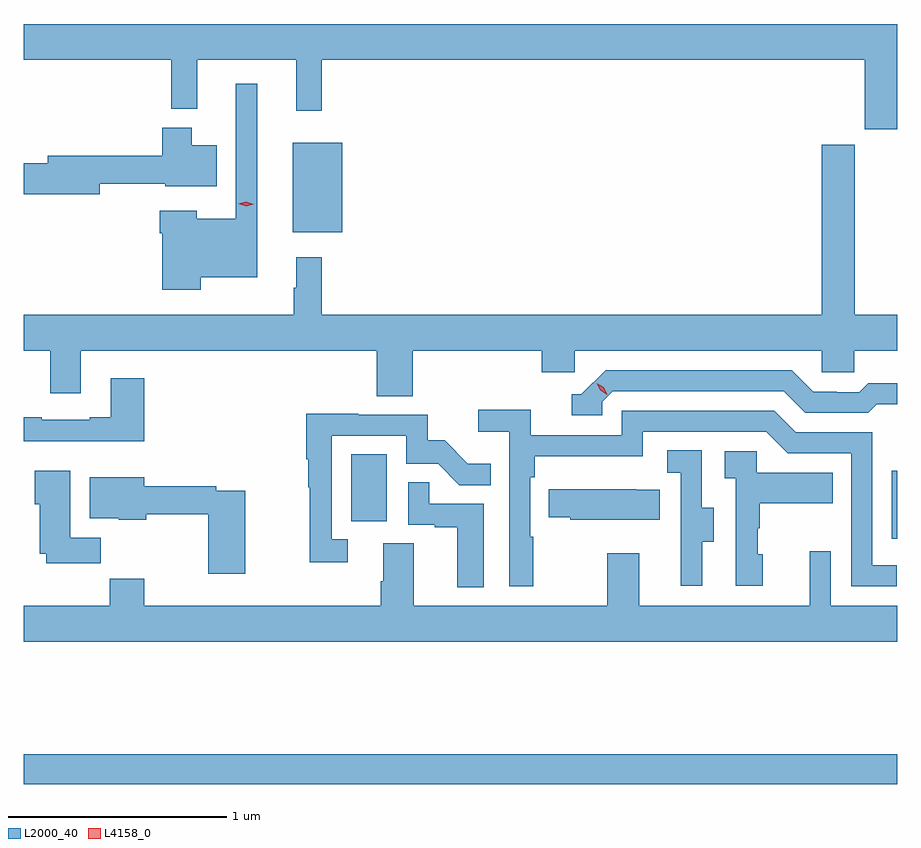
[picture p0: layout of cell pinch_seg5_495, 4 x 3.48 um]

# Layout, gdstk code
import gdstk
lib = gdstk.Library(unit=1e-6, precision=1e-09)
def R(c, l, rs):  # rectangles x0, y0, x1, y1
    for r in rs: c.add(gdstk.rectangle(r[:2], r[2:], *l))
def P(c, l, *ps):  # polygons
    for p in ps: c.add(gdstk.Polygon(p, *l))
L2000_40 = (2000, 40)
L4158_0 = (4158, 0)

pinch_seg5_495 = lib.new_cell('pinch_seg5_495')
R(pinch_seg5_495, L2000_40, [(903.525,848.116,907.525,848.252), (907.5,849.24,907.525,849.55), (905.024,849.318,905.188,849.625), (904.757,850.643,904.984,851.053)])
P(pinch_seg5_495, L2000_40, [(907.525,851.596),(903.525,851.596),(903.525,851.432),(904.201,851.432),(904.201,851.207),(904.319,851.207),(904.319,851.432),(904.772,851.432),(904.772,851.199),(904.889,851.199),(904.889,851.432),(907.376,851.432),(907.376,851.115),(907.525,851.115)],
  [(904.335,850.436),(904.594,850.436),(904.594,851.323),(904.497,851.323),(904.497,850.705),(904.318,850.705),(904.318,850.741),(904.148,850.741),(904.148,850.637),(904.16,850.637),(904.16,850.379),(904.335,850.379)],
  [(903.874,850.864),(904.172,850.864),(904.172,850.853),(904.408,850.853),(904.408,851.041),(904.294,851.041),(904.294,851.122),(904.16,851.122),(904.16,850.993),(903.635,850.993),(903.635,850.959),(903.525,850.959),(903.525,850.817),(903.874,850.817)],
  [(905.306,850.1),(905.897,850.1),(905.897,850.002),(906.048,850.002),(906.048,850.1),(907.179,850.1),(907.179,850.002),(907.329,850.002),(907.329,850.1),(907.525,850.1),(907.525,850.264),(907.33,850.264),(907.33,851.043),(907.178,851.043),(907.178,850.264),(904.889,850.264),(904.889,850.528),(904.772,850.528),(904.772,850.388),(904.761,850.388),(904.761,850.264),(903.525,850.264),(903.525,850.1),(903.647,850.1),(903.647,849.906),(903.787,849.906),(903.787,850.1),(905.141,850.1),(905.141,849.892),(905.306,849.892)],
  [(906.174,849.867),(906.222,849.915),(907.005,849.915),(907.104,849.816),(907.393,849.816),(907.432,849.855),(907.525,849.855),(907.525,849.952),(907.393,849.952),(907.351,849.909),(907.248,849.909),(907.248,849.912),(907.141,849.912),(907.042,850.011),(906.189,850.011),(906.078,849.9),(906.035,849.9),(906.035,849.804),(906.174,849.804)],
  [(904.076,849.973),(903.923,849.973),(903.923,849.796),(903.827,849.796),(903.827,849.783),(903.607,849.783),(903.607,849.796),(903.525,849.796),(903.525,849.686),(904.076,849.686)],
  [(905.857,849.248),(905.844,849.248),(905.844,849.521),(905.864,849.521),(905.864,849.617),(906.36,849.617),(906.36,849.729),(906.924,849.729),(907.023,849.63),(907.314,849.63),(907.314,849.021),(907.523,849.021),(907.523,849.117),(907.41,849.117),(907.41,849.726),(907.06,849.726),(906.961,849.825),(906.264,849.825),(906.264,849.714),(905.846,849.714),(905.846,849.83),(905.607,849.83),(905.607,849.728),(905.748,849.728),(905.748,849.021),(905.857,849.021)],
  [(905.008,849.237),(904.935,849.237),(904.935,849.711),(905.277,849.711),(905.277,849.582),(905.422,849.582),(905.52,849.484),(905.663,849.484),(905.663,849.583),(905.559,849.583),(905.452,849.69),(905.376,849.69),(905.376,849.807),(905.057,849.807),(905.057,849.812),(904.819,849.812),(904.819,849.604),(904.827,849.604),(904.827,849.474),(904.834,849.474),(904.834,849.132),(905.008,849.132)],
  [(906.631,849.226),(906.685,849.226),(906.685,849.381),(906.63,849.381),(906.63,849.644),(906.471,849.644),(906.471,849.541),(906.534,849.541),(906.534,849.237),(906.533,849.237),(906.533,849.024),(906.631,849.024)],
  [(906.91,849.168),(906.885,849.168),(906.885,849.287),(906.895,849.287),(906.895,849.401),(907.229,849.401),(907.229,849.541),(906.882,849.541),(906.882,849.639),(906.735,849.639),(906.735,849.515),(906.786,849.515),(906.786,849.024),(906.91,849.024)],
  [(903.878,849.244),(903.739,849.244),(903.739,849.55),(903.575,849.55),(903.575,849.396),(903.599,849.396),(903.599,849.17),(903.629,849.17),(903.629,849.126),(903.878,849.126)],
  [(904.54,849.459),(904.406,849.459),(904.406,849.479),(904.078,849.479),(904.078,849.52),(903.827,849.52),(903.827,849.332),(903.96,849.332),(903.96,849.326),(904.086,849.326),(904.086,849.351),(904.37,849.351),(904.37,849.078),(904.54,849.078)],
  [(905.632,849.399),(905.381,849.399),(905.381,849.497),(905.286,849.497),(905.286,849.303),(905.407,849.303),(905.407,849.291),(905.51,849.291),(905.51,849.017),(905.632,849.017)],
  [(906.437,849.463),(906.329,849.463),(906.329,849.466),(905.929,849.466),(905.929,849.337),(906.027,849.337),(906.027,849.326),(906.437,849.326)],
  [(907.525,848.932),(907.221,848.932),(907.221,849.181),(907.124,849.181),(907.124,848.932),(906.343,848.932),(906.343,849.172),(906.196,849.172),(906.196,848.932),(905.311,848.932),(905.311,849.218),(905.171,849.218),(905.171,849.044),(905.159,849.044),(905.159,848.932),(904.076,848.932),(904.076,849.056),(903.919,849.056),(903.919,848.932),(903.525,848.932),(903.525,848.768),(907.525,848.768)])
P(pinch_seg5_495, L4158_0, [(906.196,849.899),(906.165,849.919),(906.149,849.951),(906.149,849.952),(906.15,849.952),(906.18,849.932),(906.196,849.9),(906.196,849.899)],
  [(904.543,850.762),(904.508,850.774),(904.507,850.774),(904.508,850.774),(904.544,850.782),(904.579,850.771),(904.579,850.771),(904.579,850.771)])

lib.write_gds('pinch_seg5_495.gds')
